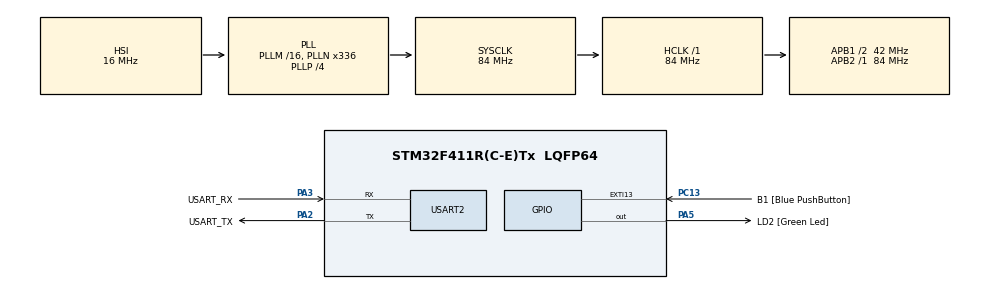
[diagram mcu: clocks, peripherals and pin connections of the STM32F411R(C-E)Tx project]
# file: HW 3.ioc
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Mcu.Family=STM32F4
Mcu.Name=STM32F411R(C-E)Tx
Mcu.Package=LQFP64
NVIC.PriorityGroup=NVIC_PRIORITYGROUP_0
PA13.GPIO_Label=TMS
PA13.Mode=Serial_Wire
PA13.Signal=SYS_JTMS-SWDIO
PA14.GPIO_Label=TCK
PA14.Mode=Serial_Wire
PA14.Signal=SYS_JTCK-SWCLK
PA2.GPIO_Label=USART_TX
PA2.Mode=Asynchronous
PA2.Signal=USART2_TX
PA3.GPIO_Label=USART_RX
PA3.Mode=Asynchronous
PA3.Signal=USART2_RX
PA5.GPIO_Label=LD2 [Green Led]
PA5.Signal=GPIO_Output
PB3.GPIO_Label=SWO
PB3.Signal=SYS_JTDO-SWO
PC13-ANTI_TAMP.GPIO_Label=B1 [Blue PushButton]
PC13-ANTI_TAMP.GPIO_ModeDefaultEXTI=GPIO_MODE_IT_FALLING
PC13-ANTI_TAMP.Signal=GPXTI13
PC14-OSC32_IN.Mode=LSE-External-Oscillator
PC14-OSC32_IN.Signal=RCC_OSC32_IN
PC15-OSC32_OUT.Mode=LSE-External-Oscillator
PC15-OSC32_OUT.Signal=RCC_OSC32_OUT
PH0\ -\ OSC_IN.Mode=HSE-External-Clock-Source
PH0\ -\ OSC_IN.Signal=RCC_OSC_IN
PH1\ -\ OSC_OUT.Mode=HSE-External-Clock-Source
PH1\ -\ OSC_OUT.Signal=RCC_OSC_OUT
ProjectManager.HeapSize=0x200
ProjectManager.StackSize=0x400
ProjectManager.TargetToolchain=STM32CubeIDE
RCC.48MHZClocksFreq_Value=84000000
RCC.AHBFreq_Value=84000000
RCC.APB1CLKDivider=RCC_HCLK_DIV2
RCC.APB1Freq_Value=42000000
RCC.APB1TimFreq_Value=84000000
RCC.APB2Freq_Value=84000000
RCC.APB2TimFreq_Value=84000000
RCC.CortexFreq_Value=84000000
RCC.FLatency-AdvancedSettings=FLASH_LATENCY_2
RCC.HCLKFreq_Value=84000000
RCC.HSE_VALUE=8000000
RCC.HSI_VALUE=16000000
RCC.PLLN=336
RCC.PLLP=RCC_PLLP_DIV4
RCC.SYSCLKFreq_VALUE=84000000
RCC.SYSCLKSource=RCC_SYSCLKSOURCE_PLLCLK
RCC.VCOOutputFreq_Value=336000000
USART2.VirtualMode=VM_ASYNC
board=NUCLEO-F411RE

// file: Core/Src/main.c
/* USER CODE BEGIN Header */
/**
  ******************************************************************************
  * @file           : main.c
  * @brief          : Main program body
  ******************************************************************************
  * @attention
  *
  * Copyright (c) 2026 STMicroelectronics.
  * All rights reserved.
  *
  * This software is licensed under terms that can be found in the LICENSE file
  * in the root directory of this software component.
  * If no LICENSE file comes with this software, it is provided AS-IS.
  *
  ******************************************************************************
  */
/* USER CODE END Header */
#include "main.h"

/* USER CODE BEGIN Includes */
// ===========================================================================
#include <string.h>
#include <stdio.h>
// ===========================================================================
/* USER CODE END Includes */

/* USER CODE BEGIN PTD */
// ===========================================================================
#define FLASH_USER_START_ADDR   0x08060000  // Sector 7 start
#define FLASH_SECTOR            7           // Sector number

// String sizes
#define GSMCONFIG_PhoneNumLen     15
#define GSMCONFIG_SecretPINLen    4
#define GSMCONFIG_PINLen          4
#define GSMCONFIG_DeviceNameLen   16
#define GSMCONFIG_MessageLen      32

// Magic number for validation
#define CONFIG_MAGIC_NUM        0x12345678
// ==================== TIME STRUCTURE ====================
typedef struct {
    uint8_t hour;
    uint8_t minute;
    uint8_t second;
    uint8_t day;
    uint8_t month;
    uint16_t year;
} Time_struct;

// ==================== CONFIG STRUCTURE ==================
typedef struct {
    // General
    uint32_t MagicNum;
    char MasterPhone[GSMCONFIG_PhoneNumLen + 1];
    char SecretPIN[GSMCONFIG_SecretPINLen + 1];
    char PIN[GSMCONFIG_PINLen + 1];
    char DeviceName[GSMCONFIG_DeviceNameLen];
    char GetBalanceUSSD[10];

    // Phones
    char PhoneNumber[5][GSMCONFIG_PhoneNumLen + 1];

    // Relay
    uint32_t RelayDelay[3];
    uint8_t  RelayBitmask[3];
    uint8_t  RelayBitmaskInv[3];
    uint8_t  RelayInv[3];

    // Information messages
    char StateMessage[2][7][GSMCONFIG_MessageLen + 1];
    uint8_t PhoneInfoMask[5];
    Time_struct Info_time;
    uint8_t Daily_info;
    uint8_t TimeShift;
} __attribute__((packed)) Config_t;

// ==================== UNION ====================
union NVRAM {
    Config_t config;
    uint32_t data32[(sizeof(Config_t) + 3) / 4];
} DevNVRAM;

// ===========================================================================
/* USER CODE END PTD */

UART_HandleTypeDef huart2;

/* USER CODE BEGIN PV */
// ===========================================================================
Config_t myConfig;
uint32_t PageError = 0;
// ===========================================================================

/* USER CODE END PV */

void SystemClock_Config(void);
static void MX_GPIO_Init(void);
static void MX_USART2_UART_Init(void);

/* USER CODE BEGIN 0 */
// ===========================================================================
// ==================== UART FUNCTIONS ====================
void UART_SendString(char *str) {
    HAL_UART_Transmit(&huart2, (uint8_t*)str, strlen(str), HAL_MAX_DELAY);
}

void UART_SendHexByte(uint8_t value) {
    char hex[4];
    sprintf(hex, "%02X", value);
    UART_SendString(hex);
}

// ==================== PRINT CONFIG ======================
void PrintConfig(Config_t *cfg) {
    char buf[128];
    int i, j;

    UART_SendString("\r\n========== CONFIG STRUCTURE ==========\r\n");

    // General
    sprintf(buf, "MagicNum:      0x%08lX\r\n", cfg->MagicNum);
    UART_SendString(buf);
    sprintf(buf, "MasterPhone:   %s\r\n", cfg->MasterPhone);
    UART_SendString(buf);
    sprintf(buf, "SecretPIN:     %s\r\n", cfg->SecretPIN);
    UART_SendString(buf);
    sprintf(buf, "PIN:           %s\r\n", cfg->PIN);
    UART_SendString(buf);
    sprintf(buf, "DeviceName:    %s\r\n", cfg->DeviceName);
    UART_SendString(buf);
    sprintf(buf, "GetBalanceUSSD: %s\r\n", cfg->GetBalanceUSSD);
    UART_SendString(buf);

    // Phone numbers
    UART_SendString("\r\n--- Phone Numbers ---\r\n");
    for(i = 0; i < 5; i++) {
        sprintf(buf, "Phone[%d]:      %s\r\n", i, cfg->PhoneNumber[i]);
        UART_SendString(buf);
    }

    // Relay settings
    UART_SendString("\r\n--- Relay Settings ---\r\n");
    for(i = 0; i < 3; i++) {
        sprintf(buf, "RelayDelay[%d]:     %lu\r\n", i, cfg->RelayDelay[i]);
        UART_SendString(buf);
        sprintf(buf, "RelayBitmask[%d]:   0x%02X\r\n", i, cfg->RelayBitmask[i]);
        UART_SendString(buf);
        sprintf(buf, "RelayBitmaskInv[%d]: 0x%02X\r\n", i, cfg->RelayBitmaskInv[i]);
        UART_SendString(buf);
        sprintf(buf, "RelayInv[%d]:       0x%02X\r\n", i, cfg->RelayInv[i]);
        UART_SendString(buf);
    }

    // State messages
    UART_SendString("\r\n--- State Messages ---\r\n");
    for(i = 0; i < 2; i++) {
        for(j = 0; j < 7; j++) {
            if(strlen(cfg->StateMessage[i][j]) > 0) {
                sprintf(buf, "StateMsg[%d][%d]: %s\r\n", i, j, cfg->StateMessage[i][j]);
                UART_SendString(buf);
            }
        }
    }

    // Phone info mask
    UART_SendString("\r\n--- Phone Info Mask ---\r\n");
    for(i = 0; i < 5; i++) {
        sprintf(buf, "PhoneInfoMask[%d]: 0x%02X\r\n", i, cfg->PhoneInfoMask[i]);
        UART_SendString(buf);
    }

    // Time info
    UART_SendString("\r\n--- Time Settings ---\r\n");
    sprintf(buf, "Info_time:   %02d:%02d:%02d %02d.%02d.%04d\r\n",
            cfg->Info_time.hour, cfg->Info_time.minute, cfg->Info_time.second,
            cfg->Info_time.day, cfg->Info_time.month, cfg->Info_time.year);
    UART_SendString(buf);
    sprintf(buf, "Daily_info:  %d\r\n", cfg->Daily_info);
    UART_SendString(buf);
    sprintf(buf, "TimeShift:   %d\r\n", cfg->TimeShift);
    UART_SendString(buf);

    sprintf(buf, "\r\nTotal size: %lu bytes\r\n", sizeof(Config_t));
    UART_SendString(buf);
}

// ==================== MEMORY DUMP ======================
void PrintMemoryDump(uint32_t address, uint32_t size) {
    uint8_t *ptr = (uint8_t*)address;
    char buf[64];

    UART_SendString("\r\n========== FLASH MEMORY DUMP ==========\r\n");
    sprintf(buf, "Address: 0x%08lX\r\n", address);
    UART_SendString(buf);
    sprintf(buf, "Size: %lu bytes\r\n\r\n", size);  // %lu вместо %d
    UART_SendString(buf);

    UART_SendString("Offset   00 01 02 03 04 05 06 07  08 09 0A 0B 0C 0D 0E 0F   ASCII\r\n");
    UART_SendString("-------- ------------------------------------------------  ----------------\r\n");

    for(uint32_t i = 0; i < size; i += 16) {
        sprintf(buf, "%08lX: ", address + i);
        UART_SendString(buf);

        for(uint32_t j = 0; j < 16; j++) {
            if(i + j < size) {
                UART_SendHexByte(ptr[i + j]);
                UART_SendString(" ");
            } else {
                UART_SendString("   ");
            }
            if(j == 7) UART_SendString(" ");
        }

        UART_SendString("  ");
        for(uint32_t j = 0; j < 16 && i + j < size; j++) {
            uint8_t c = ptr[i + j];
            char ascii[2] = {(c >= 32 && c <= 126) ? c : '.', 0};
            UART_SendString(ascii);
        }
        UART_SendString("\r\n");
    }
    UART_SendString("\r\n");
}

// ==================== FLASH OPERATIONS ==================
void SaveToFlash(void) {
    UART_SendString("\r\n--- Saving to Flash (Sector 7) ---\r\n");

    // Copy to union for 32-bit write
    memcpy(&DevNVRAM.config, &myConfig, sizeof(Config_t));

    // Unlock Flash
    HAL_FLASH_Unlock();

    // Erase sector
    FLASH_EraseInitTypeDef EraseInitStruct;
    EraseInitStruct.TypeErase = FLASH_TYPEERASE_SECTORS;
    EraseInitStruct.Sector = FLASH_SECTOR;
    EraseInitStruct.NbSectors = 1;
    EraseInitStruct.VoltageRange = FLASH_VOLTAGE_RANGE_3;

    UART_SendString("Erasing sector 7... ");
    if(HAL_FLASHEx_Erase(&EraseInitStruct, &PageError) != HAL_OK) {
        UART_SendString("FAILED\r\n");
        HAL_FLASH_Lock();
        return;
    }
    UART_SendString("OK\r\n");

    // Write data by 32-bit words
    UART_SendString("Writing... ");
    uint32_t address = FLASH_USER_START_ADDR;
    uint32_t dataSize = (sizeof(Config_t) + 3) / 4;

    for(uint32_t i = 0; i < dataSize; i++) {
        if(HAL_FLASH_Program(FLASH_TYPEPROGRAM_WORD, address, DevNVRAM.data32[i]) != HAL_OK) {
            UART_SendString("FAILED\r\n");
            HAL_FLASH_Lock();
            return;
        }
        address += 4;
    }
    UART_SendString("OK\r\n");

    // Lock Flash
    HAL_FLASH_Lock();

    // Verify
    UART_SendString("Verifying... ");
    if(memcmp((void*)FLASH_USER_START_ADDR, &myConfig, sizeof(Config_t)) == 0) {
        UART_SendString("SUCCESS!\r\n");
        PrintConfig(&myConfig);
        PrintMemoryDump(FLASH_USER_START_ADDR, sizeof(Config_t));
    } else {
        UART_SendString("FAILED\r\n");
    }
}

void ReadFromFlash(void) {
    Config_t *flashConfig = (Config_t*)FLASH_USER_START_ADDR;

    if(flashConfig->MagicNum != 0xFFFFFFFF) {
        UART_SendString("\r\nFound saved data in Flash!\r\n");
        PrintConfig(flashConfig);
        PrintMemoryDump(FLASH_USER_START_ADDR, sizeof(Config_t));
    } else {
        UART_SendString("\r\nFlash sector 7 is empty (all 0xFF)\r\n");
    }
}

// ==================== INIT CONFIG WITH TEST DATA ========
void InitTestConfig(void) {
    int i, j;

    // General
    myConfig.MagicNum = CONFIG_MAGIC_NUM;
    strcpy(myConfig.MasterPhone, "+79991234567");
    strcpy(myConfig.SecretPIN, "0000");
    strcpy(myConfig.PIN, "1234");
    strcpy(myConfig.DeviceName, "NucleoF411");
    strcpy(myConfig.GetBalanceUSSD, "*100#");

    // Phone numbers
    strcpy(myConfig.PhoneNumber[0], "+79161234567");
    strcpy(myConfig.PhoneNumber[1], "+79162345678");
    strcpy(myConfig.PhoneNumber[2], "+79163456789");
    strcpy(myConfig.PhoneNumber[3], "+79164567890");
    strcpy(myConfig.PhoneNumber[4], "+79165678901");

    // Relay settings
    for(i = 0; i < 3; i++) {
        myConfig.RelayDelay[i] = (i + 1) * 1000;
        myConfig.RelayBitmask[i] = 1 << i;
        myConfig.RelayBitmaskInv[i] = ~(1 << i);
        myConfig.RelayInv[i] = i % 2;
    }

    // State messages
    strcpy(myConfig.StateMessage[0][0], "System OK");
    strcpy(myConfig.StateMessage[0][1], "Low battery");
    strcpy(myConfig.StateMessage[1][0], "Relay ON");
    strcpy(myConfig.StateMessage[1][1], "Relay OFF");

    // Fill remaining messages with empty strings
    for(i = 0; i < 2; i++) {
        for(j = 0; j < 7; j++) {
            if(strlen(myConfig.StateMessage[i][j]) == 0) {
                myConfig.StateMessage[i][j][0] = '\0';
            }
        }
    }

    // Phone info mask
    for(i = 0; i < 5; i++) {
        myConfig.PhoneInfoMask[i] = 0x01;
    }

    // Time info
    myConfig.Info_time.hour = 12;
    myConfig.Info_time.minute = 30;
    myConfig.Info_time.second = 0;
    myConfig.Info_time.day = 20;
    myConfig.Info_time.month = 3;
    myConfig.Info_time.year = 2026;
    myConfig.Daily_info = 1;
    myConfig.TimeShift = 3;
}
// ===========================================================================
/* USER CODE END 0 */

int main(void)
{

  /* MCU Configuration--------------------------------------------------------*/

  /* Reset of all peripherals, Initializes the Flash interface and the Systick. */
  HAL_Init();

  /* USER CODE BEGIN Init */
  // ===========================================================================
  // Initialize config with test data
  InitTestConfig();
  // ===========================================================================
  /* USER CODE END Init */

  /* Configure the system clock */
  SystemClock_Config();

  /* Initialize all configured peripherals */
  MX_GPIO_Init();
  MX_USART2_UART_Init();

  /* USER CODE BEGIN 2 */
  // ===========================================================================
  char buf[64];
  UART_SendString("\r\n========== FLASH DEMO STM32F411 ==========\r\n");
  sprintf(buf, "Sector 7: 0x%08lX (128 KB)\r\n", FLASH_USER_START_ADDR);
  UART_SendString(buf);
  sprintf(buf, "Config size: %lu bytes\r\n", sizeof(Config_t));
  UART_SendString(buf);
  UART_SendString("Press BLUE button (PC13) to save to Flash\r\n");
  UART_SendString("===========================================\r\n");

  // Show current config
  UART_SendString("\r\nCurrent test config:");
  PrintConfig(&myConfig);

  // Check if Flash has saved data
  ReadFromFlash();
  // ===========================================================================
  /* USER CODE END 2 */

  /* Infinite loop */
  /* USER CODE BEGIN WHILE */
  while (1)
  {
      // Check button press (PC13)
       if(HAL_GPIO_ReadPin(GPIOC, GPIO_PIN_13) == GPIO_PIN_RESET) {
           HAL_Delay(50);  // Debounce
           if(HAL_GPIO_ReadPin(GPIOC, GPIO_PIN_13) == GPIO_PIN_RESET) {
               // Update timestamp in config (using Info_time as example)
               myConfig.Info_time.hour = (HAL_GetTick() / 3600000) % 24;
               myConfig.Info_time.minute = (HAL_GetTick() / 60000) % 60;
               myConfig.Info_time.second = (HAL_GetTick() / 1000) % 60;

               SaveToFlash();

               // Wait for button release
               while(HAL_GPIO_ReadPin(GPIOC, GPIO_PIN_13) == GPIO_PIN_RESET);
               UART_SendString("\r\nPress button again to save updated config\r\n");
           }
       }

       // Blink LED
       HAL_GPIO_TogglePin(LD2_GPIO_Port, LD2_Pin);
       HAL_Delay(500);
    /* USER CODE END WHILE */

  }
}

void SystemClock_Config(void)
{
  RCC_OscInitTypeDef RCC_OscInitStruct = {0};
  RCC_ClkInitTypeDef RCC_ClkInitStruct = {0};

  /** Configure the main internal regulator output voltage
  */
  __HAL_RCC_PWR_CLK_ENABLE();
  __HAL_PWR_VOLTAGESCALING_CONFIG(PWR_REGULATOR_VOLTAGE_SCALE1);

  /** Initializes the RCC Oscillators according to the specified parameters
  * in the RCC_OscInitTypeDef structure.
  */
  RCC_OscInitStruct.OscillatorType = RCC_OSCILLATORTYPE_HSI;
  RCC_OscInitStruct.HSIState = RCC_HSI_ON;
  RCC_OscInitStruct.HSICalibrationValue = RCC_HSICALIBRATION_DEFAULT;
  RCC_OscInitStruct.PLL.PLLState = RCC_PLL_ON;
  RCC_OscInitStruct.PLL.PLLSource = RCC_PLLSOURCE_HSI;
  RCC_OscInitStruct.PLL.PLLM = 16;
  RCC_OscInitStruct.PLL.PLLN = 336;
  RCC_OscInitStruct.PLL.PLLP = RCC_PLLP_DIV4;
  RCC_OscInitStruct.PLL.PLLQ = 4;
  if (HAL_RCC_OscConfig(&RCC_OscInitStruct) != HAL_OK)
  {
    Error_Handler();
  }

  /** Initializes the CPU, AHB and APB buses clocks
  */
  RCC_ClkInitStruct.ClockType = RCC_CLOCKTYPE_HCLK|RCC_CLOCKTYPE_SYSCLK
                              |RCC_CLOCKTYPE_PCLK1|RCC_CLOCKTYPE_PCLK2;
  RCC_ClkInitStruct.SYSCLKSource = RCC_SYSCLKSOURCE_PLLCLK;
  RCC_ClkInitStruct.AHBCLKDivider = RCC_SYSCLK_DIV1;
  RCC_ClkInitStruct.APB1CLKDivider = RCC_HCLK_DIV2;
  RCC_ClkInitStruct.APB2CLKDivider = RCC_HCLK_DIV1;

  if (HAL_RCC_ClockConfig(&RCC_ClkInitStruct, FLASH_LATENCY_2) != HAL_OK)
  {
    Error_Handler();
  }
}

static void MX_USART2_UART_Init(void)
{

  huart2.Instance = USART2;
  huart2.Init.BaudRate = 115200;
  huart2.Init.WordLength = UART_WORDLENGTH_8B;
  huart2.Init.StopBits = UART_STOPBITS_1;
  huart2.Init.Parity = UART_PARITY_NONE;
  huart2.Init.Mode = UART_MODE_TX_RX;
  huart2.Init.HwFlowCtl = UART_HWCONTROL_NONE;
  huart2.Init.OverSampling = UART_OVERSAMPLING_16;
  if (HAL_UART_Init(&huart2) != HAL_OK)
  {
    Error_Handler();
  }

}

static void MX_GPIO_Init(void)
{
  GPIO_InitTypeDef GPIO_InitStruct = {0};

  /* GPIO Ports Clock Enable */
  __HAL_RCC_GPIOC_CLK_ENABLE();
  __HAL_RCC_GPIOH_CLK_ENABLE();
  __HAL_RCC_GPIOA_CLK_ENABLE();
  __HAL_RCC_GPIOB_CLK_ENABLE();

  /*Configure GPIO pin Output Level */
  HAL_GPIO_WritePin(LD2_GPIO_Port, LD2_Pin, GPIO_PIN_RESET);

  /*Configure GPIO pin : B1_Pin */
  GPIO_InitStruct.Pin = B1_Pin;
  GPIO_InitStruct.Mode = GPIO_MODE_IT_FALLING;
  GPIO_InitStruct.Pull = GPIO_NOPULL;
  HAL_GPIO_Init(B1_GPIO_Port, &GPIO_InitStruct);

  /*Configure GPIO pin : LD2_Pin */
  GPIO_InitStruct.Pin = LD2_Pin;
  GPIO_InitStruct.Mode = GPIO_MODE_OUTPUT_PP;
  GPIO_InitStruct.Pull = GPIO_NOPULL;
  GPIO_InitStruct.Speed = GPIO_SPEED_FREQ_LOW;
  HAL_GPIO_Init(LD2_GPIO_Port, &GPIO_InitStruct);

}

void Error_Handler(void)
{
  __disable_irq();
  while (1)
  {
  }
}
